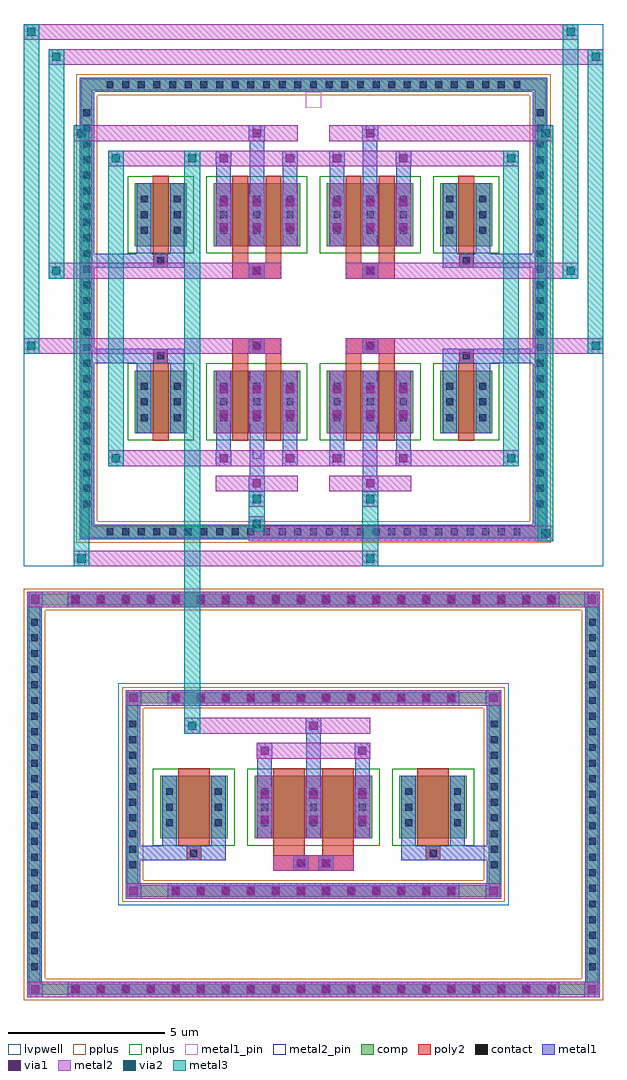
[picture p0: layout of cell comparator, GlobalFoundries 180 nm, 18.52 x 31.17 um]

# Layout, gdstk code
import gdstk
lib = gdstk.Library(unit=1e-6, precision=5e-09)
def R(c, l, rs):  # rectangles x0, y0, x1, y1
    for r in rs: c.add(gdstk.rectangle(r[:2], r[2:], *l))
def A(c, l, x, y, w, h, nx, ny, dx, dy):  # array of equal rectangles
    R(c, l, [(x+i*dx, y+j*dy, x+i*dx+w, y+j*dy+h) for i in range(nx) for j in range(ny)])
def P(c, l, *ps):  # polygons
    for p in ps: c.add(gdstk.Polygon(p, *l))
comp = (22, 0)
poly2 = (30, 0)
pplus = (31, 0)
nplus = (32, 0)
contact = (33, 0)
metal1 = (34, 0)
metal1_pin = (34, 10)
via1 = (35, 0)
metal2 = (36, 0)
metal2_pin = (36, 10)
via2 = (38, 0)
metal3 = (42, 0)
lvpwell = (204, 0)

diff_pair_f30b08a9 = lib.new_cell('diff_pair_f30b08a9')
A(diff_pair_f30b08a9, comp, -6.68, -7.32, 0.36, 0.36, 27, 2, 0.5, 14.28)
A(diff_pair_f30b08a9, comp, -7.42, -6.43, 0.36, 0.36, 1, 26, 0, 0.5)
A(diff_pair_f30b08a9, comp, 7.06, -6.43, 0.36, 0.36, 1, 26, 0, 0.5)
R(diff_pair_f30b08a9, comp, [(-6.68,-7.32,6.68,-6.96), (-7.42,-6.43,-7.06,6.43), (7.06,-6.43,7.42,6.43), (-5.71,-3.99,-4.05,-1.99), (-3.19,-3.99,-0.43,-1.99), (0.43,-3.99,3.19,-1.99), (4.05,-3.99,5.71,-1.99), (-5.71,1.99,-4.05,3.99), (-3.19,1.99,-0.43,3.99), (0.43,1.99,3.19,3.99), (4.05,1.99,5.71,3.99), (-6.68,6.96,6.68,7.32)])
P(diff_pair_f30b08a9, comp, [(7.42,7.32),(-7.42,7.32),(-7.42,-6.96),(-7.06,-6.96),(-7.06,6.96),(7.06,6.96),(7.06,-6.96),(-7.06,-6.96),(-7.42,-6.96),(-7.42,-7.32),(7.42,-7.32)])
R(diff_pair_f30b08a9, poly2, [(-5.13,-4.23,-4.63,-1.75), (-2.59,-4.23,-2.09,-1.75), (-1.53,-4.23,-1.03,-1.75), (1.03,-4.23,1.53,-1.75), (2.09,-4.23,2.59,-1.75), (4.63,-4.23,5.13,-1.75), (-5.11,-1.75,-4.65,-1.29), (-2.59,-1.75,-2.09,-1.45), (-1.53,-1.75,-1.03,-1.45), (1.03,-1.75,1.53,-1.45), (2.09,-1.75,2.59,-1.45), (4.65,-1.75,5.11,-1.29), (-5.06,-1.7,-4.7,-1.34), (4.7,-1.7,5.06,-1.34), (-2.59,-1.45,-1.03,-0.95), (1.03,-1.45,2.59,-0.95), (-1.99,-1.38,-1.63,-1.02), (1.63,-1.38,1.99,-1.02), (-2.59,0.95,-1.03,1.45), (1.03,0.95,2.59,1.45), (-1.99,1.02,-1.63,1.38), (1.63,1.02,1.99,1.38), (-5.11,1.29,-4.65,1.75), (4.65,1.29,5.11,1.75), (-5.06,1.34,-4.7,1.7), (4.7,1.34,5.06,1.7), (-2.59,1.45,-2.09,1.75), (-1.53,1.45,-1.03,1.75), (1.03,1.45,1.53,1.75), (2.09,1.45,2.59,1.75), (-5.13,1.75,-4.63,4.23), (-2.59,1.75,-2.09,4.23), (-1.53,1.75,-1.03,4.23), (1.03,1.75,1.53,4.23), (2.09,1.75,2.59,4.23), (4.63,1.75,5.13,4.23)])
P(diff_pair_f30b08a9, pplus, [(7.58,7.48),(-7.58,7.48),(-7.58,-6.8),(-6.9,-6.8),(-6.9,6.8),(6.9,6.8),(6.9,-6.8),(-6.9,-6.8),(-7.58,-6.8),(-7.58,-7.48),(7.58,-7.48)])
R(diff_pair_f30b08a9, nplus, [(-5.94,-4.22,-3.82,-1.76), (-3.42,-4.22,-0.2,-1.76), (0.2,-4.22,3.42,-1.76), (3.82,-4.22,5.94,-1.76), (-5.94,1.76,-3.82,4.22), (-3.42,1.76,-0.2,4.22), (0.2,1.76,3.42,4.22), (3.82,1.76,5.94,4.22)])
A(diff_pair_f30b08a9, contact, -6.61, -7.25, 0.22, 0.22, 27, 2, 0.5, 14.28)
A(diff_pair_f30b08a9, contact, -7.35, -6.36, 0.22, 0.22, 1, 26, 0, 0.5)
A(diff_pair_f30b08a9, contact, 7.13, -6.36, 0.22, 0.22, 1, 26, 0, 0.5)
A(diff_pair_f30b08a9, contact, -5.52, -3.6, 0.22, 0.22, 1, 3, 0, 0.5)
A(diff_pair_f30b08a9, contact, -4.46, -3.6, 0.22, 0.22, 1, 3, 0, 0.5)
A(diff_pair_f30b08a9, contact, -2.98, -3.6, 0.22, 0.22, 3, 3, 1.06, 0.5)
A(diff_pair_f30b08a9, contact, 0.64, -3.6, 0.22, 0.22, 3, 3, 1.06, 0.5)
A(diff_pair_f30b08a9, contact, 4.24, -3.6, 0.22, 0.22, 1, 3, 0, 0.5)
A(diff_pair_f30b08a9, contact, 5.3, -3.6, 0.22, 0.22, 1, 3, 0, 0.5)
A(diff_pair_f30b08a9, contact, -5.52, 2.38, 0.22, 0.22, 1, 3, 0, 0.5)
A(diff_pair_f30b08a9, contact, -4.46, 2.38, 0.22, 0.22, 1, 3, 0, 0.5)
A(diff_pair_f30b08a9, contact, -2.98, 2.38, 0.22, 0.22, 3, 3, 1.06, 0.5)
A(diff_pair_f30b08a9, contact, 0.64, 2.38, 0.22, 0.22, 3, 3, 1.06, 0.5)
A(diff_pair_f30b08a9, contact, 4.24, 2.38, 0.22, 0.22, 1, 3, 0, 0.5)
A(diff_pair_f30b08a9, contact, 5.3, 2.38, 0.22, 0.22, 1, 3, 0, 0.5)
R(diff_pair_f30b08a9, contact, [(-4.99,-1.63,-4.77,-1.41), (4.77,-1.63,4.99,-1.41), (-1.92,-1.31,-1.7,-1.09), (1.7,-1.31,1.92,-1.09), (-1.92,1.09,-1.7,1.31), (1.7,1.09,1.92,1.31), (-4.99,1.41,-4.77,1.63), (4.77,1.41,4.99,1.63)])
A(diff_pair_f30b08a9, metal1, -6.73, -7.37, 0.46, 0.46, 27, 2, 0.5, 14.28)
A(diff_pair_f30b08a9, metal1, -7.47, -6.48, 0.46, 0.46, 1, 26, 0, 0.5)
A(diff_pair_f30b08a9, metal1, 7.01, -6.48, 0.46, 0.46, 1, 26, 0, 0.5)
A(diff_pair_f30b08a9, metal1, -3.1, -3.99, 0.46, 2, 3, 2, 1.06, 5.98)
A(diff_pair_f30b08a9, metal1, 0.52, -3.99, 0.46, 2, 3, 2, 1.06, 5.98)
A(diff_pair_f30b08a9, metal1, -5.64, -3.72, 0.46, 0.46, 1, 3, 0, 0.5)
A(diff_pair_f30b08a9, metal1, -4.58, -3.72, 0.46, 0.46, 1, 3, 0, 0.5)
A(diff_pair_f30b08a9, metal1, -3.1, -3.72, 0.46, 0.46, 3, 3, 1.06, 0.5)
A(diff_pair_f30b08a9, metal1, 0.52, -3.72, 0.46, 0.46, 3, 3, 1.06, 0.5)
A(diff_pair_f30b08a9, metal1, 4.12, -3.72, 0.46, 0.46, 1, 3, 0, 0.5)
A(diff_pair_f30b08a9, metal1, 5.18, -3.72, 0.46, 0.46, 1, 3, 0, 0.5)
A(diff_pair_f30b08a9, metal1, -3.12, -3.64, 0.5, 0.5, 3, 2, 1.06, 0.8)
A(diff_pair_f30b08a9, metal1, -3.12, -3.64, 0.5, 1.3, 3, 2, 1.06, 5.98)
A(diff_pair_f30b08a9, metal1, 0.5, -3.64, 0.5, 0.5, 3, 2, 1.06, 0.8)
A(diff_pair_f30b08a9, metal1, 0.5, -3.64, 0.5, 1.3, 3, 2, 1.06, 5.98)
A(diff_pair_f30b08a9, metal1, -5.64, 2.26, 0.46, 0.46, 1, 3, 0, 0.5)
A(diff_pair_f30b08a9, metal1, -4.58, 2.26, 0.46, 0.46, 1, 3, 0, 0.5)
A(diff_pair_f30b08a9, metal1, -3.1, 2.26, 0.46, 0.46, 3, 3, 1.06, 0.5)
A(diff_pair_f30b08a9, metal1, 0.52, 2.26, 0.46, 0.46, 3, 3, 1.06, 0.5)
A(diff_pair_f30b08a9, metal1, 4.12, 2.26, 0.46, 0.46, 1, 3, 0, 0.5)
A(diff_pair_f30b08a9, metal1, 5.18, 2.26, 0.46, 0.46, 1, 3, 0, 0.5)
A(diff_pair_f30b08a9, metal1, -3.12, 2.34, 0.5, 0.5, 3, 2, 1.06, 0.8)
A(diff_pair_f30b08a9, metal1, 0.5, 2.34, 0.5, 0.5, 3, 2, 1.06, 0.8)
R(diff_pair_f30b08a9, metal1, [(-7.47,-7.37,-7.06,-6.91), (-7.47,-7.37,-7.01,-6.96), (-7.06,-7.37,7.06,-6.91), (7.01,-7.37,7.47,-6.96), (7.06,-7.37,7.47,-6.91), (-7.47,-6.96,-7.01,6.96), (7.01,-6.96,7.47,6.96), (-2.06,-5.84,-1.56,-5.34), (-2.04,-5.84,-1.58,-3.99), (1.56,-5.84,2.06,-5.34), (1.58,-5.84,2.04,-3.99), (-3.12,-5.04,-2.62,-4.54), (-3.1,-5.04,-2.64,-3.99), (-1,-5.04,-0.5,-4.54), (-0.98,-5.04,-0.52,-3.99), (0.5,-5.04,1,-4.54), (0.52,-5.04,0.98,-3.99), (2.62,-5.04,3.12,-4.54), (2.64,-5.04,3.1,-3.99), (-5.64,-3.99,-5.18,-1.99), (-4.58,-3.99,-4.12,-1.99), (4.12,-3.99,4.58,-1.99), (5.18,-3.99,5.64,-1.99), (-5.64,-1.99,-5.18,-1.29), (-4.58,-1.99,-4.12,-1.29), (4.12,-1.99,4.58,-1.29), (5.18,-1.99,5.64,-1.29), (-7.47,-1.75,-5.11,-1.29), (-5.64,-1.75,-5.11,-1.29), (-5.11,-1.75,-4.65,-1.29), (-4.65,-1.75,-4.12,-1.29), (4.12,-1.75,4.65,-1.29), (4.65,-1.75,5.11,-1.29), (4.65,-1.75,7.47,-1.29), (5.11,-1.75,5.64,-1.29), (-2.06,-1.45,-1.56,-0.95), (1.56,-1.45,2.06,-0.95), (-2.06,0.95,-1.56,1.45), (1.56,0.95,2.06,1.45), (-7.47,1.29,-5.11,1.75), (-5.64,1.29,-5.11,1.75), (-5.64,1.29,-5.18,1.99), (-5.11,1.29,-4.65,1.75), (-4.65,1.29,-4.12,1.75), (-4.58,1.29,-4.12,1.99), (4.12,1.29,4.65,1.75), (4.12,1.29,4.58,1.99), (4.65,1.29,5.11,1.75), (4.65,1.29,7.47,1.75), (5.11,1.29,5.64,1.75), (5.18,1.29,5.64,1.99), (-5.64,1.99,-5.18,3.99), (-4.58,1.99,-4.12,3.99), (4.12,1.99,4.58,3.99), (5.18,1.99,5.64,3.99), (-3.1,3.99,-2.64,5.04), (-2.04,3.99,-1.58,5.84), (-0.98,3.99,-0.52,5.04), (0.52,3.99,0.98,5.04), (1.58,3.99,2.04,5.84), (2.64,3.99,3.1,5.04), (-3.12,4.54,-2.62,5.04), (-1,4.54,-0.5,5.04), (0.5,4.54,1,5.04), (2.62,4.54,3.12,5.04), (-2.06,5.34,-1.56,5.84), (1.56,5.34,2.06,5.84), (-7.47,6.91,-7.06,7.37), (-7.06,6.91,7.06,7.37), (7.06,6.91,7.47,7.37), (-7.47,6.96,-7.01,7.37), (7.01,6.96,7.47,7.37)])
R(diff_pair_f30b08a9, metal1_pin, [(-0.25,6.41,0.25,6.91)])
A(diff_pair_f30b08a9, via1, -3, -3.52, 0.26, 0.26, 3, 2, 1.06, 0.8)
A(diff_pair_f30b08a9, via1, 0.62, -3.52, 0.26, 0.26, 3, 2, 1.06, 0.8)
A(diff_pair_f30b08a9, via1, -3, 2.46, 0.26, 0.26, 3, 2, 1.06, 0.8)
A(diff_pair_f30b08a9, via1, 0.62, 2.46, 0.26, 0.26, 3, 2, 1.06, 0.8)
R(diff_pair_f30b08a9, via1, [(-1.94,-5.72,-1.68,-5.46), (1.68,-5.72,1.94,-5.46), (-3,-4.92,-2.74,-4.66), (-0.88,-4.92,-0.62,-4.66), (0.62,-4.92,0.88,-4.66), (2.74,-4.92,3,-4.66), (-1.94,-1.33,-1.68,-1.07), (1.68,-1.33,1.94,-1.07), (-1.94,1.07,-1.68,1.33), (1.68,1.07,1.94,1.33), (-3,4.66,-2.74,4.92), (-0.88,4.66,-0.62,4.92), (0.62,4.66,0.88,4.92), (2.74,4.66,3,4.92), (-1.94,5.46,-1.68,5.72), (1.68,5.46,1.94,5.72)])
A(diff_pair_f30b08a9, metal2, -3.12, -3.99, 0.5, 2, 3, 2, 1.06, 5.98)
A(diff_pair_f30b08a9, metal2, 0.5, -3.99, 0.5, 2, 3, 2, 1.06, 5.98)
A(diff_pair_f30b08a9, metal2, -3.12, -3.64, 0.5, 0.5, 3, 2, 1.06, 0.8)
A(diff_pair_f30b08a9, metal2, 0.5, -3.64, 0.5, 0.5, 3, 2, 1.06, 0.8)
A(diff_pair_f30b08a9, metal2, -3.12, 2.34, 0.5, 0.5, 3, 2, 1.06, 0.8)
A(diff_pair_f30b08a9, metal2, 0.5, 2.34, 0.5, 0.5, 3, 2, 1.06, 0.8)
R(diff_pair_f30b08a9, metal2, [(-7.66,-8.24,-7.16,-7.74), (-7.66,-8.24,2.06,-7.74), (1.56,-8.24,2.06,-7.74), (-2.06,-7.44,7.66,-6.94), (7.16,-7.44,7.66,-6.94), (-2.06,-7.14,-1.56,-6.64), (-2.06,-6.34,-1.56,-5.84), (1.56,-6.34,2.06,-5.84), (-3.12,-5.84,-0.5,-5.34), (-2.06,-5.84,-1.56,-5.34), (0.5,-5.84,3.12,-5.34), (1.56,-5.84,2.06,-5.34), (-6.56,-5.04,-6.06,-4.54), (-6.56,-5.04,-3.12,-4.54), (-3.12,-5.04,-2.62,-4.54), (-3.12,-5.04,-0.5,-4.54), (-1,-5.04,-0.5,-4.54), (-0.5,-5.04,0.5,-4.54), (0.5,-5.04,1,-4.54), (0.5,-5.04,3.12,-4.54), (2.62,-5.04,3.12,-4.54), (3.12,-5.04,6.56,-4.54), (6.06,-5.04,6.56,-4.54), (-9.26,-1.45,-8.76,-0.95), (-9.26,-1.45,-1.03,-0.95), (-2.59,-1.45,-1.03,-0.95), (-2.06,-1.45,-1.56,-0.95), (1.03,-1.45,2.59,-0.95), (1.03,-1.45,9.26,-0.95), (1.56,-1.45,2.06,-0.95), (8.76,-1.45,9.26,-0.95), (-8.46,0.95,-7.96,1.45), (-8.46,0.95,-2.59,1.45), (-2.59,0.95,-1.03,1.45), (-2.06,0.95,-1.56,1.45), (1.03,0.95,2.59,1.45), (1.56,0.95,2.06,1.45), (2.59,0.95,8.46,1.45), (7.96,0.95,8.46,1.45), (-6.56,4.54,-6.06,5.04), (-6.56,4.54,-3.12,5.04), (-3.12,4.54,-2.62,5.04), (-3.12,4.54,-0.5,5.04), (-1,4.54,-0.5,5.04), (-0.5,4.54,0.5,5.04), (0.5,4.54,1,5.04), (0.5,4.54,3.12,5.04), (2.62,4.54,3.12,5.04), (3.12,4.54,6.56,5.04), (6.06,4.54,6.56,5.04), (-7.66,5.34,-7.16,5.84), (-7.66,5.34,-3.12,5.84), (-3.12,5.34,-0.5,5.84), (-2.06,5.34,-1.56,5.84), (0.5,5.34,3.12,5.84), (1.56,5.34,2.06,5.84), (3.12,5.34,7.66,5.84), (7.16,5.34,7.66,5.84), (-8.46,7.78,-7.96,8.28), (-8.46,7.78,-6.06,8.28), (-6.06,7.78,6.06,8.28), (6.06,7.78,9.26,8.28), (8.76,7.78,9.26,8.28), (-9.26,8.58,-8.76,9.08), (-9.26,8.58,-6.06,9.08), (-6.06,8.58,6.06,9.08), (6.06,8.58,8.46,9.08), (7.96,8.58,8.46,9.08)])
R(diff_pair_f30b08a9, metal2_pin, [(-1.945,-4.81,-1.675,-4.54), (-1.945,-1.22,-1.675,-0.95), (1.675,-1.22,1.945,-0.95), (-1.945,5.57,-1.675,5.84), (1.675,5.57,1.945,5.84)])
R(diff_pair_f30b08a9, via2, [(-7.54,-8.12,-7.28,-7.86), (1.68,-8.12,1.94,-7.86), (7.28,-7.32,7.54,-7.06), (-1.94,-7.02,-1.68,-6.76), (-1.94,-6.22,-1.68,-5.96), (1.68,-6.22,1.94,-5.96), (-6.44,-4.92,-6.18,-4.66), (6.18,-4.92,6.44,-4.66), (-9.14,-1.33,-8.88,-1.07), (8.88,-1.33,9.14,-1.07), (-8.34,1.07,-8.08,1.33), (8.08,1.07,8.34,1.33), (-6.44,4.66,-6.18,4.92), (6.18,4.66,6.44,4.92), (-7.54,5.46,-7.28,5.72), (7.28,5.46,7.54,5.72), (-8.34,7.9,-8.08,8.16), (8.88,7.9,9.14,8.16), (-9.14,8.7,-8.88,8.96), (8.08,8.7,8.34,8.96)])
R(diff_pair_f30b08a9, metal3, [(-7.66,-8.24,-7.16,-7.74), (-7.66,-8.24,-7.16,-7.74), (-7.66,-8.24,-7.16,5.84), (1.56,-8.24,2.06,-7.74), (1.56,-7.74,2.06,-6.34), (7.16,-7.44,7.66,-6.94), (7.16,-7.44,7.66,-6.94), (7.16,-7.44,7.66,5.84), (-2.06,-7.14,-1.56,-6.64), (-2.06,-6.64,-1.56,-6.34), (-2.06,-6.34,-1.56,-5.84), (1.56,-6.34,2.06,-5.84), (-6.56,-5.04,-6.06,-4.54), (-6.56,-5.04,-6.06,-4.54), (-6.56,-5.04,-6.06,5.04), (6.06,-5.04,6.56,-4.54), (6.06,-5.04,6.56,-4.54), (6.06,-5.04,6.56,5.04), (-9.26,-1.45,-8.76,-0.95), (-9.26,-1.45,-8.76,-0.95), (-9.26,-1.45,-8.76,9.08), (8.76,-1.45,9.26,-0.95), (8.76,-1.45,9.26,-0.95), (8.76,-1.45,9.26,8.28), (-8.46,0.95,-7.96,1.45), (-8.46,0.95,-7.96,1.45), (-8.46,0.95,-7.96,8.28), (7.96,0.95,8.46,1.45), (7.96,0.95,8.46,1.45), (7.96,0.95,8.46,9.08), (-6.56,4.54,-6.06,5.04), (-6.56,4.54,-6.06,5.04), (6.06,4.54,6.56,5.04), (6.06,4.54,6.56,5.04), (-7.66,5.34,-7.16,5.84), (-7.66,5.34,-7.16,5.84), (7.16,5.34,7.66,5.84), (7.16,5.34,7.66,5.84), (-8.46,7.78,-7.96,8.28), (-8.46,7.78,-7.96,8.28), (8.76,7.78,9.26,8.28), (8.76,7.78,9.26,8.28), (-9.26,8.58,-8.76,9.08), (-9.26,8.58,-8.76,9.08), (7.96,8.58,8.46,9.08), (7.96,8.58,8.46,9.08)])
P(diff_pair_f30b08a9, metal3, [(9.26,-1.45),(9.26,-1.45),(9.26,-0.95),(9.26,-0.95)],
  [(9.26,7.78),(9.26,7.78),(9.26,8.28),(9.26,8.28)],
  [(-8.76,-1.45),(-8.76,-1.45),(-8.76,-0.95),(-8.76,-0.95)],
  [(-8.76,8.58),(-8.76,8.58),(-8.76,9.08),(-8.76,9.08)],
  [(8.46,0.95),(8.46,0.95),(8.46,1.45),(8.46,1.45)],
  [(8.46,8.58),(8.46,8.58),(8.46,9.08),(8.46,9.08)],
  [(-7.96,0.95),(-7.96,0.95),(-7.96,1.45),(-7.96,1.45)],
  [(-7.96,7.78),(-7.96,7.78),(-7.96,8.28),(-7.96,8.28)],
  [(-7.16,-8.24),(-7.16,-8.24),(-7.16,-7.74),(-7.16,-7.74)],
  [(-7.16,5.34),(-7.16,5.34),(-7.16,5.84),(-7.16,5.84)],
  [(7.66,-7.44),(7.66,-7.44),(7.66,-6.94),(7.66,-6.94)],
  [(7.66,5.34),(7.66,5.34),(7.66,5.84),(7.66,5.84)],
  [(-6.06,-5.04),(-6.06,-5.04),(-6.06,-4.54),(-6.06,-4.54)],
  [(-6.06,4.54),(-6.06,4.54),(-6.06,5.04),(-6.06,5.04)],
  [(6.56,-5.04),(6.56,-5.04),(6.56,-4.54),(6.56,-4.54)],
  [(6.56,4.54),(6.56,4.54),(6.56,5.04),(6.56,5.04)])
R(diff_pair_f30b08a9, lvpwell, [(-9.26,-8.24,9.26,9.08), (-6.06,-5.96,-0.08,-0.83), (0.08,-5.96,6.06,-0.83), (-6.06,0.83,-0.08,5.96), (0.08,0.83,6.06,5.96)])
diff_pair_f30b08a9.add(gdstk.Label('VTAIL', (-1.81,-4.675), layer=36, texttype=10))
diff_pair_f30b08a9.add(gdstk.Label('VN', (-1.81,-1.085), layer=36, texttype=10))
diff_pair_f30b08a9.add(gdstk.Label('VP', (1.81,-1.085), layer=36, texttype=10))
diff_pair_f30b08a9.add(gdstk.Label('B', (0,6.66), layer=34, texttype=10))
diff_pair_f30b08a9.add(gdstk.Label('VDD2', (1.81,5.705), layer=36, texttype=10))
diff_pair_f30b08a9.add(gdstk.Label('VDD1', (-1.81,5.705), layer=36, texttype=10))

unnamed_1f4697dc = lib.new_cell('Unnamed_1f4697dc')
A(unnamed_1f4697dc, comp, -7.78, -6.405, 0.36, 0.36, 20, 2, 0.8, 12.45)
A(unnamed_1f4697dc, comp, -9.09, -5.68, 0.36, 0.36, 1, 23, 0, 0.5)
A(unnamed_1f4697dc, comp, 8.73, -5.68, 0.36, 0.36, 1, 23, 0, 0.5)
A(unnamed_1f4697dc, comp, -4.58, -3.265, 0.36, 0.36, 12, 2, 0.8, 6.17)
A(unnamed_1f4697dc, comp, -5.95, -2.43, 0.36, 0.36, 1, 10, 0, 0.5)
A(unnamed_1f4697dc, comp, 5.59, -2.43, 0.36, 0.36, 1, 10, 0, 0.5)
R(unnamed_1f4697dc, comp, [(-7.78,-6.405,7.78,-6.045), (-9.09,-5.68,-8.73,5.68), (8.73,-5.68,9.09,5.68), (-4.58,-3.265,4.58,-2.905), (-5.95,-2.43,-5.59,2.43), (5.59,-2.43,5.95,2.43), (-4.9,-1.405,-2.74,0.595), (-1.88,-1.405,1.88,0.595), (2.74,-1.405,4.9,0.595), (-4.58,2.905,4.58,3.265), (-7.78,6.045,7.78,6.405)])
P(unnamed_1f4697dc, comp, [(9.09,6.405),(-9.09,6.405),(-9.09,-6.045),(-8.73,-6.045),(-8.73,6.045),(8.73,6.045),(8.73,-6.045),(-8.73,-6.045),(-9.09,-6.045),(-9.09,-6.405),(9.09,-6.405)],
  [(5.95,3.265),(-5.95,3.265),(-5.95,-2.905),(-5.59,-2.905),(-5.59,2.905),(5.59,2.905),(5.59,-2.905),(-5.59,-2.905),(-5.95,-2.905),(-5.95,-3.265),(5.95,-3.265)])
R(unnamed_1f4697dc, poly2, [(-1.28,-2.445,1.28,-1.945), (-0.58,-2.375,-0.22,-2.015), (0.22,-2.375,0.58,-2.015), (-4.05,-2.105,-3.59,-1.645), (3.59,-2.105,4.05,-1.645), (-4,-2.055,-3.64,-1.695), (3.64,-2.055,4,-1.695), (-1.28,-1.945,-0.28,-1.645), (0.28,-1.945,1.28,-1.645), (-4.32,-1.645,-3.32,0.835), (-1.28,-1.645,-0.28,0.835), (0.28,-1.645,1.28,0.835), (3.32,-1.645,4.32,0.835)])
P(unnamed_1f4697dc, pplus, [(9.25,6.565),(-9.25,6.565),(-9.25,-5.885),(-8.57,-5.885),(-8.57,5.885),(8.57,5.885),(8.57,-5.885),(-8.57,-5.885),(-9.25,-5.885),(-9.25,-6.565),(9.25,-6.565)],
  [(6.11,3.425),(-6.11,3.425),(-6.11,-2.745),(-5.43,-2.745),(-5.43,2.745),(5.43,2.745),(5.43,-2.745),(-5.43,-2.745),(-6.11,-2.745),(-6.11,-3.425),(6.11,-3.425)])
R(unnamed_1f4697dc, nplus, [(-5.13,-1.635,-2.51,0.825), (-2.11,-1.635,2.11,0.825), (2.51,-1.635,5.13,0.825)])
A(unnamed_1f4697dc, contact, -7.71, -6.335, 0.22, 0.22, 20, 2, 0.8, 12.45)
A(unnamed_1f4697dc, contact, -9.02, -5.61, 0.22, 0.22, 1, 23, 0, 0.5)
A(unnamed_1f4697dc, contact, 8.8, -5.61, 0.22, 0.22, 1, 23, 0, 0.5)
A(unnamed_1f4697dc, contact, -4.51, -3.195, 0.22, 0.22, 12, 2, 0.8, 6.17)
A(unnamed_1f4697dc, contact, -5.88, -2.36, 0.22, 0.22, 1, 10, 0, 0.5)
A(unnamed_1f4697dc, contact, 5.66, -2.36, 0.22, 0.22, 1, 10, 0, 0.5)
A(unnamed_1f4697dc, contact, -4.71, -1.015, 0.22, 0.22, 1, 3, 0, 0.5)
A(unnamed_1f4697dc, contact, -3.15, -1.015, 0.22, 0.22, 1, 3, 0, 0.5)
A(unnamed_1f4697dc, contact, -1.67, -1.015, 0.22, 0.22, 3, 3, 1.56, 0.5)
A(unnamed_1f4697dc, contact, 2.93, -1.015, 0.22, 0.22, 1, 3, 0, 0.5)
A(unnamed_1f4697dc, contact, 4.49, -1.015, 0.22, 0.22, 1, 3, 0, 0.5)
R(unnamed_1f4697dc, contact, [(-0.51,-2.305,-0.29,-2.085), (0.29,-2.305,0.51,-2.085), (-3.93,-1.985,-3.71,-1.765), (3.71,-1.985,3.93,-1.765)])
A(unnamed_1f4697dc, metal1, -7.85, -6.475, 0.5, 0.5, 20, 2, 0.8, 12.45)
A(unnamed_1f4697dc, metal1, -9.14, -5.73, 0.46, 0.46, 1, 23, 0, 0.5)
A(unnamed_1f4697dc, metal1, 8.68, -5.73, 0.46, 0.46, 1, 23, 0, 0.5)
A(unnamed_1f4697dc, metal1, -4.65, -3.335, 0.5, 0.5, 12, 2, 0.8, 6.17)
A(unnamed_1f4697dc, metal1, -6, -2.48, 0.46, 0.46, 1, 10, 0, 0.5)
A(unnamed_1f4697dc, metal1, 5.54, -2.48, 0.46, 0.46, 1, 10, 0, 0.5)
A(unnamed_1f4697dc, metal1, -1.79, -1.405, 0.46, 2, 3, 1, 1.56, 0)
A(unnamed_1f4697dc, metal1, -4.83, -1.135, 0.46, 0.46, 1, 3, 0, 0.5)
A(unnamed_1f4697dc, metal1, -3.27, -1.135, 0.46, 0.46, 1, 3, 0, 0.5)
A(unnamed_1f4697dc, metal1, -1.79, -1.135, 0.46, 0.46, 3, 3, 1.56, 0.5)
A(unnamed_1f4697dc, metal1, 2.81, -1.135, 0.46, 0.46, 1, 3, 0, 0.5)
A(unnamed_1f4697dc, metal1, 4.37, -1.135, 0.46, 0.46, 1, 3, 0, 0.5)
A(unnamed_1f4697dc, metal1, -1.81, -1.055, 0.5, 0.5, 3, 2, 1.56, 0.8)
A(unnamed_1f4697dc, metal1, -1.81, -1.055, 0.5, 1.3, 3, 1, 1.56, 0)
R(unnamed_1f4697dc, metal1, [(-9.14,-6.475,-8.64,-5.975), (-9.14,-6.475,-8.64,-5.975), (-9.14,-6.475,-8.68,-6.045), (-7.85,-6.475,7.85,-5.975), (8.64,-6.475,9.14,-5.975), (8.64,-6.475,9.14,-5.975), (8.68,-6.475,9.14,-6.045), (-9.14,-6.045,-8.68,6.045), (8.68,-6.045,9.14,6.045), (-6,-3.335,-5.5,-2.835), (-6,-3.335,-5.5,-2.835), (-6,-3.335,-5.54,-2.905), (-4.65,-3.335,4.65,-2.835), (5.5,-3.335,6,-2.835), (5.5,-3.335,6,-2.835), (5.54,-3.335,6,-2.905), (-6,-2.905,-5.54,2.905), (5.54,-2.905,6,2.905), (-0.65,-2.445,-0.15,-1.945), (0.15,-2.445,0.65,-1.945), (-6,-2.105,-4.05,-1.645), (-4.83,-2.105,-4.05,-1.645), (-4.83,-2.105,-4.37,-1.405), (-4.05,-2.105,-3.59,-1.645), (-3.59,-2.105,-2.81,-1.645), (-3.27,-2.105,-2.81,-1.405), (2.81,-2.105,3.59,-1.645), (2.81,-2.105,3.27,-1.405), (3.59,-2.105,4.05,-1.645), (3.59,-2.105,6,-1.645), (4.05,-2.105,4.83,-1.645), (4.37,-2.105,4.83,-1.405), (-4.83,-1.405,-4.37,0.595), (-3.27,-1.405,-2.81,0.595), (2.81,-1.405,3.27,0.595), (4.37,-1.405,4.83,0.595), (-1.79,0.595,-1.33,1.645), (-0.23,0.595,0.23,2.445), (1.33,0.595,1.79,1.645), (-1.81,1.145,-1.31,1.645), (1.31,1.145,1.81,1.645), (-0.25,1.945,0.25,2.445), (-6,2.835,-5.5,3.335), (-6,2.835,-5.5,3.335), (-4.65,2.835,4.65,3.335), (5.5,2.835,6,3.335), (5.5,2.835,6,3.335), (-6,2.905,-5.54,3.335), (5.54,2.905,6,3.335), (-9.14,5.975,-8.64,6.475), (-9.14,5.975,-8.64,6.475), (-7.85,5.975,7.85,6.475), (8.64,5.975,9.14,6.475), (8.64,5.975,9.14,6.475), (-9.14,6.045,-8.68,6.475), (8.68,6.045,9.14,6.475)])
A(unnamed_1f4697dc, via1, -7.73, -6.355, 0.26, 0.26, 20, 2, 0.8, 12.45)
A(unnamed_1f4697dc, via1, -4.53, -3.215, 0.26, 0.26, 12, 2, 0.8, 6.17)
A(unnamed_1f4697dc, via1, -1.69, -0.935, 0.26, 0.26, 3, 2, 1.56, 0.8)
R(unnamed_1f4697dc, via1, [(-9.02,-6.355,-8.76,-6.095), (8.76,-6.355,9.02,-6.095), (-5.88,-3.215,-5.62,-2.955), (5.62,-3.215,5.88,-2.955), (-0.53,-2.325,-0.27,-2.065), (0.27,-2.325,0.53,-2.065), (-1.69,1.265,-1.43,1.525), (1.43,1.265,1.69,1.525), (-0.13,2.065,0.13,2.325), (-5.88,2.955,-5.62,3.215), (5.62,2.955,5.88,3.215), (-9.02,6.095,-8.76,6.355), (8.76,6.095,9.02,6.355)])
A(unnamed_1f4697dc, metal2, -7.85, -6.475, 0.5, 0.5, 20, 2, 0.8, 12.45)
A(unnamed_1f4697dc, metal2, -4.65, -3.335, 0.5, 0.5, 12, 2, 0.8, 6.17)
A(unnamed_1f4697dc, metal2, -1.81, -1.405, 0.5, 2, 3, 1, 1.56, 0)
A(unnamed_1f4697dc, metal2, -1.81, -1.055, 0.5, 0.5, 3, 2, 1.56, 0.8)
R(unnamed_1f4697dc, metal2, [(-9.14,-6.475,-8.64,-5.975), (-9.14,-6.475,-8.64,-5.975), (-9.14,-6.475,-8.73,-5.975), (-8.73,-6.475,8.73,-5.975), (8.64,-6.475,9.14,-5.975), (8.64,-6.475,9.14,-5.975), (8.73,-6.475,9.14,-5.975), (-6,-3.335,-5.5,-2.835), (-6,-3.335,-5.5,-2.835), (-6,-3.335,-5.59,-2.835), (-5.59,-3.335,5.59,-2.835), (5.5,-3.335,6,-2.835), (5.5,-3.335,6,-2.835), (5.59,-3.335,6,-2.835), (-1.28,-2.445,1.28,-1.945), (-0.65,-2.445,-0.15,-1.945), (0.15,-2.445,0.65,-1.945), (-1.81,1.145,-1.31,1.645), (-1.81,1.145,1.81,1.645), (1.31,1.145,1.81,1.645), (-1.81,1.945,1.81,2.445), (-0.25,1.945,0.25,2.445), (-6,2.835,-5.5,3.335), (-6,2.835,-5.5,3.335), (-6,2.835,-5.59,3.335), (-5.59,2.835,5.59,3.335), (5.5,2.835,6,3.335), (5.5,2.835,6,3.335), (5.59,2.835,6,3.335), (-9.14,5.975,-8.64,6.475), (-9.14,5.975,-8.64,6.475), (-9.14,5.975,-8.73,6.475), (-8.73,5.975,8.73,6.475), (8.64,5.975,9.14,6.475), (8.64,5.975,9.14,6.475), (8.73,5.975,9.14,6.475)])
R(unnamed_1f4697dc, lvpwell, [(-6.23,-3.545,6.23,3.545)])

c_route_6f2b0eea = lib.new_cell('c_route_6f2b0eea')
R(c_route_6f2b0eea, metal2, [(-4.12,-13.58,-1.81,-13.08), (-4.12,-13.58,-3.62,-13.08), (-4.12,4.54,-3.62,5.04), (-4.12,4.54,-3.12,5.04)])
R(c_route_6f2b0eea, via2, [(-4,-13.46,-3.74,-13.2), (-4,4.66,-3.74,4.92)])
R(c_route_6f2b0eea, metal3, [(-4.12,-13.58,-3.62,-13.08), (-4.12,-13.58,-3.62,-13.08), (-4.12,-13.58,-3.62,5.04), (-4.12,4.54,-3.62,5.04), (-4.12,4.54,-3.62,5.04)])
P(c_route_6f2b0eea, metal3, [(-3.62,-13.58),(-3.62,-13.58),(-3.62,-13.08),(-3.62,-13.08)],
  [(-3.62,4.54),(-3.62,4.54),(-3.62,5.04),(-3.62,5.04)])

comparator = lib.new_cell('comparator')
comparator.add(gdstk.Reference(diff_pair_f30b08a9, (0,0)))
comparator.add(gdstk.Reference(unnamed_1f4697dc, (0,-15.525)))
comparator.add(gdstk.Reference(c_route_6f2b0eea, (0,0)))

lib.write_gds('comparator.gds')
